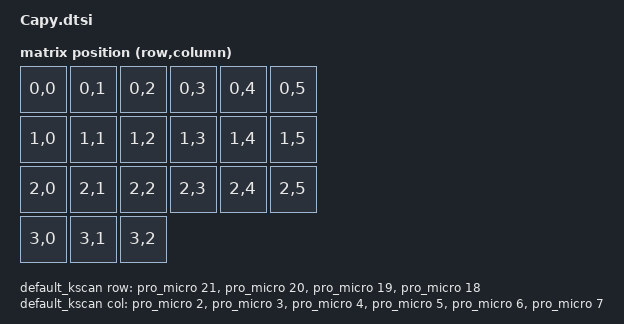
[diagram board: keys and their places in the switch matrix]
#include <dt-bindings/zmk/matrix_transform.h>
#include <physical_layouts.dtsi>

/ {
	chosen {
		zmk,kscan = &default_kscan;
		zmk,physical-layout = &capy_layout;
	};

	default_kscan: kscan {
		compatible = "zmk,kscan-gpio-matrix";
		diode-direction = "col2row";

		row-gpios = <&pro_micro 21 (GPIO_ACTIVE_HIGH | GPIO_PULL_DOWN)>,
					<&pro_micro 20 (GPIO_ACTIVE_HIGH | GPIO_PULL_DOWN)>,
					<&pro_micro 19 (GPIO_ACTIVE_HIGH | GPIO_PULL_DOWN)>,
					<&pro_micro 18 (GPIO_ACTIVE_HIGH | GPIO_PULL_DOWN)>;

		col-gpios =
			<&pro_micro 2 GPIO_ACTIVE_HIGH>,
			<&pro_micro 3 GPIO_ACTIVE_HIGH>,
			<&pro_micro 4 GPIO_ACTIVE_HIGH>,
			<&pro_micro 5 GPIO_ACTIVE_HIGH>,
			<&pro_micro 6 GPIO_ACTIVE_HIGH>,
			<&pro_micro 7 GPIO_ACTIVE_HIGH>;
	};

	default_transform: default_matrix_transform {
		compatible = "zmk,matrix-transform";
		rows = <4>;
		columns = <6>;

		map = <
			RC(0,0) RC(0,1) RC(0,2) RC(0,3) RC(0,4) RC(0,5)
			RC(1,0) RC(1,1) RC(1,2) RC(1,3) RC(1,4) RC(1,5)
			RC(2,0) RC(2,1) RC(2,2) RC(2,3) RC(2,4) RC(2,5)
			RC(3,0) RC(3,1) RC(3,2)

		>;
	};

	capy_layout: capy_layout {
	    compatible = "zmk,physical-layout";
	    display-name = "Capy Layout";
	    kscan = <&default_kscan>;
	    transform = <&default_transform>;
	     keys  //                     w   h    x    y     rot    rx    ry
            = <&key_physical_attrs 100 100    0    0       0     0     0>
            , <&key_physical_attrs 100 100  100    0       0     0     0>
            , <&key_physical_attrs 100 100  200    0       0     0     0>
            , <&key_physical_attrs 100 100  300    0       0     0     0>
            , <&key_physical_attrs 100 100  400    0       0     0     0>
            , <&key_physical_attrs 100 100  500    0       0     0     0>
            , <&key_physical_attrs 100 100  900    0       0     0     0>
            , <&key_physical_attrs 100 100 1000    0       0     0     0>
            , <&key_physical_attrs 100 100 1100    0       0     0     0>
            , <&key_physical_attrs 100 100 1200    0       0     0     0>
            , <&key_physical_attrs 100 100 1300    0       0     0     0>
            , <&key_physical_attrs 100 100 1400    0       0     0     0>
            , <&key_physical_attrs 100 100    0  100       0     0     0>
            , <&key_physical_attrs 100 100  100  100       0     0     0>
            , <&key_physical_attrs 100 100  200  100       0     0     0>
            , <&key_physical_attrs 100 100  300  100       0     0     0>
            , <&key_physical_attrs 100 100  400  100       0     0     0>
            , <&key_physical_attrs 100 100  500  100       0     0     0>
            , <&key_physical_attrs 100 100  900  100       0     0     0>
            , <&key_physical_attrs 100 100 1000  100       0     0     0>
            , <&key_physical_attrs 100 100 1100  100       0     0     0>
            , <&key_physical_attrs 100 100 1200  100       0     0     0>
            , <&key_physical_attrs 100 100 1300  100       0     0     0>
            , <&key_physical_attrs 100 100 1400  100       0     0     0>
            , <&key_physical_attrs 100 100    0  200       0     0     0>
            , <&key_physical_attrs 100 100  100  200       0     0     0>
            , <&key_physical_attrs 100 100  200  200       0     0     0>
            , <&key_physical_attrs 100 100  300  200       0     0     0>
            , <&key_physical_attrs 100 100  400  200       0     0     0>
            , <&key_physical_attrs 100 100  500  200       0     0     0>
            , <&key_physical_attrs 100 100  900  200       0     0     0>
            , <&key_physical_attrs 100 100 1000  200       0     0     0>
            , <&key_physical_attrs 100 100 1100  200       0     0     0>
            , <&key_physical_attrs 100 100 1200  200       0     0     0>
            , <&key_physical_attrs 100 100 1300  200       0     0     0>
            , <&key_physical_attrs 100 100 1400  200       0     0     0>
            , <&key_physical_attrs 100 100  350  300       0     0     0>
            , <&key_physical_attrs 100 100  450  300       0     0     0>
            , <&key_physical_attrs 100 100  575  300       0     0     0>
            , <&key_physical_attrs 100 100  825  300       0     0     0>
            , <&key_physical_attrs 100 100  950  300       0     0     0>
            , <&key_physical_attrs 100 100 1050  300       0     0     0>
            ;

	};
};
